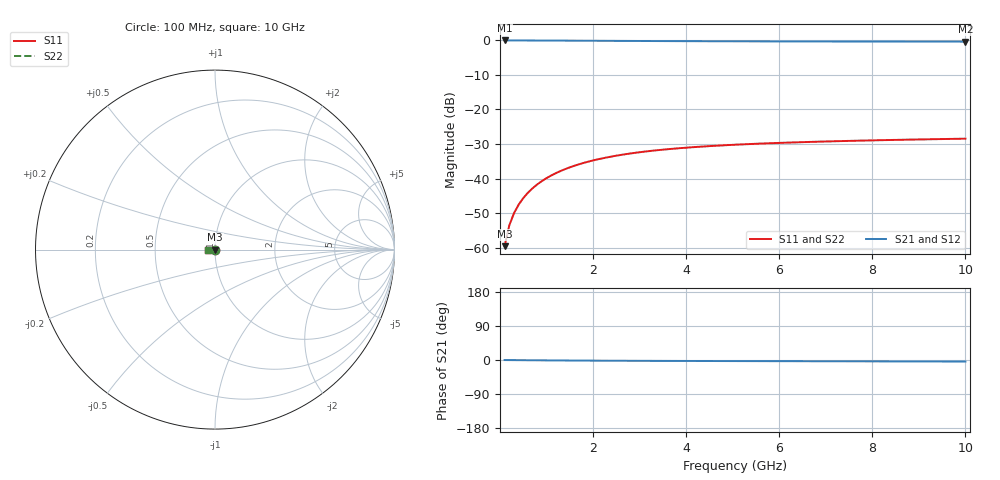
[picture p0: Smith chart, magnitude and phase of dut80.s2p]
! Touchstone file exported from HFSS 2024.1.0
!  File:  C:/UserFiles/LocalFiles/RDL_TSV_Batchsim/temp_TSV1_80_1779374857.aedt
!  Generated:  10:55:43 PM May 21, 2026
!  Design:  TSV1
!  Project:  temp_TSV1_80_1779374857
!  Setup:  Setup1
!  Solution:  Sweep
! Variables:
!  dtsv = 11.4um
!  hbump = 3um
!  htsv = 61.2um
!  lrdl = 252.1521522um
!  p = 40
!  p1 = 51.81um
!  t = 500um
!  trdl = 3um
!  wrdl = 24.89489489um
# GHz S MA R 50.000000
! Terminal data exported
! Port[1] = TSV22_T1
! Port[2] = TSV22_T2
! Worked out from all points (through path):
!   100 points, 100 MHz to 10 GHz, reference 50 ohm
!   highest |S21| = 0.00 dB at 100 MHz (marker M1); lowest = -0.3 dB at 10 GHz (marker M2)
!   lowest |S11| = -59.6 dB at 100 MHz (marker M3), VSWR 1.00, Z = 50 - j0.104 ohm
!   |S11| at or under -10 dB: start of sweep to end of sweep
!   |S22| runs from -59.6 to -28.5 dB; largest |S21 - S12| = 6.9e-15
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0.1  0.001046 -86.6  0.9999 -0.1  0.9999 -0.1  0.001046 -86.6
! Gamma 0 0 0 0
! Port Impedance 50 0 50 0
0.2  0.002087 -90.9  0.9998 -0.2  0.9998 -0.2  0.002087 -90.9
0.3  0.003128 -93.5  0.9996 -0.3  0.9996 -0.3  0.003128 -93.5
0.4  0.004165 -95.7  0.9993 -0.4  0.9993 -0.4  0.004165 -95.7
0.5  0.005194 -97.8  0.999 -0.5  0.999 -0.5  0.005194 -97.8
0.6  0.006211 -99.8  0.9986 -0.6  0.9986 -0.6  0.006211 -99.8
0.7  0.007213 -101.7  0.9982 -0.7  0.9982 -0.7  0.007213 -101.7
0.8  0.008199 -103.6  0.9977 -0.8  0.9977 -0.8  0.008199 -103.6
0.9  0.009167 -105.5  0.9972 -0.9  0.9972 -0.9  0.009167 -105.5
1.1  0.01104 -109.0  0.9961 -1.1  0.9961 -1.1  0.01104 -109.0
1.4  0.01367 -114.1  0.9941 -1.3  0.9941 -1.3  0.01367 -114.1
1.6  0.0153 -117.3  0.9927 -1.4  0.9927 -1.4  0.0153 -117.3
1.8  0.01683 -120.4  0.9912 -1.6  0.9912 -1.6  0.01683 -120.4
2.1  0.01894 -124.8  0.9889 -1.8  0.9889 -1.8  0.01894 -124.8
2.5  0.02141 -130.1  0.9859 -2.0  0.9859 -2.0  0.02141 -130.1
2.9  0.02353 -134.9  0.9831 -2.2  0.9831 -2.2  0.02353 -134.9
3.4  0.02577 -140.3  0.9799 -2.3  0.9799 -2.3  0.02577 -140.3
4.2  0.02859 -147.8  0.9755 -2.6  0.9755 -2.6  0.02859 -147.8
5.1  0.03097 -154.8  0.9715 -2.9  0.9715 -2.9  0.03097 -154.8
6.7  0.03394 -164.8  0.9666 -3.3  0.9666 -3.3  0.03394 -164.8
8.4  0.03614 -173.2  0.9631 -3.7  0.9631 -3.7  0.03614 -173.2
10  0.03776 -179.8  0.9609 -4.1  0.9609 -4.1  0.03776 -179.8
